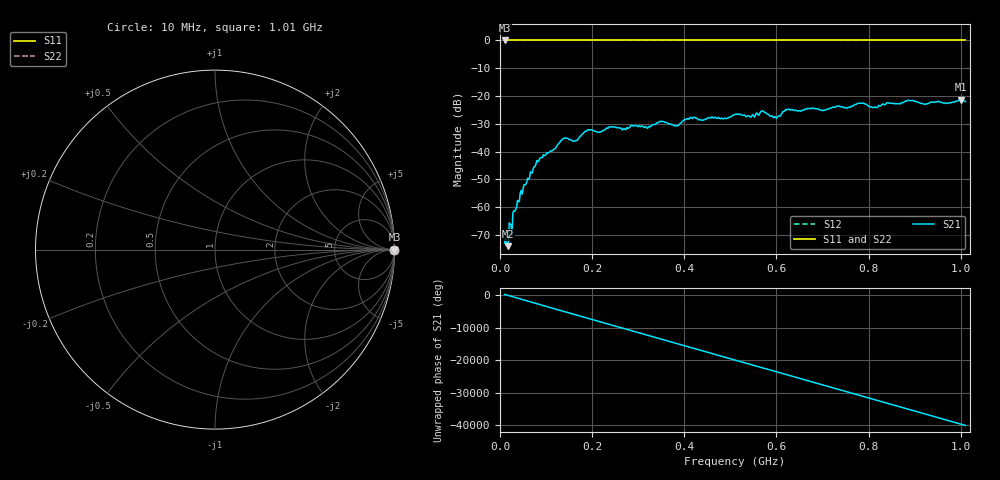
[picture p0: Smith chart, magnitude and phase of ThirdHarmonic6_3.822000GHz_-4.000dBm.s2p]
! 8/17/2025 1:16:10 PM
! C:\ANRITSUVNA\TEMP\TEMP.S2P
! CHANNEL.1
! TR.MEASUREMENT
! RAW.DATA
! RF.CORRECTION.OFF
! AVERAGING.OFF
! IF.BANDWIDTH: 5KHZ
! SWEEPTYPE:  FREQ.SWEEP(Linear)
! Reference Plane Port Info
! PORT:  PORT1  PORT2
! DISTANCE:  0  m  0  m
! TIME:  0  s  0  s
! PHASE.OFFSET:  0  deg.  0  deg.
! LOSS:  0  dB  0  dB
! REF.LOSS:  0  dB  0  dB
! REF.FREQ:  0  Hz  0  Hz
! Power Info
! POWER:  -20  dBm  -20  dBm
! EFF.POWER:  -20  dBm  -20  dBm
! SOURCE.ATTEN:  0  dB  0  dB
! TEST.ATTEN:  0  dB  0  dB
# GHZ S RI R 50.0
! FREQ.GHZ  S11RE  S11IM  S21RE  S21IM  S12RE  S12IM  S22RE  S22IM
!; PortSelection: Port_12
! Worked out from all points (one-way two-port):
!   501 points, 10 MHz to 1.01 GHz, reference 50 ohm
!   highest |S21| = -21.29 dB at 1 GHz (marker M1); lowest = -74.0 dB at 18 MHz (marker M2)
!   lowest |S11| = 0.0 dB at 10 MHz (marker M3)
!   |S11| at or under -10 dB: nowhere
!   |S22| runs from 0.0 to 0.0 dB; largest |S21 - S12| = 1.1
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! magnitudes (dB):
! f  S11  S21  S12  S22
! 10 MHz  0.0  -72.9  0.0  0.0
! 14 MHz  0.0  -73.9  0.0  0.0
! 18 MHz  0.0  -74.0  0.0  0.0
! 32 MHz  0.0  -61.5  0.0  0.0
! 48 MHz  0.0  -55.3  0.0  0.0
! 82 MHz  0.0  -43.7  0.0  0.0
! 136 MHz  0.0  -35.6  0.0  0.0
! 164 MHz  0.0  -36.1  0.0  0.0
! 178 MHz  0.0  -33.8  0.0  0.0
! 194 MHz  0.0  -32.1  0.0  0.0
! 322 MHz  0.0  -31.2  0.0  0.0
! 344 MHz  0.0  -29.5  0.0  0.0
! 384 MHz  0.0  -30.6  0.0  0.0
! 410 MHz  0.0  -28.3  0.0  0.0
! 510 MHz  0.0  -26.6  0.0  0.0
! 570 MHz  0.0  -25.4  0.0  0.0
! 598 MHz  0.0  -27.5  0.0  0.0
! 624 MHz  0.0  -24.9  0.0  0.0
! 678 MHz  0.0  -24.3  0.0  0.0
! 844 MHz  0.0  -22.5  0.0  0.0
! 1 GHz  0.0  -21.3  0.0  0.0
! 1.01 GHz  0.0  -22.0  0.0  0.0
